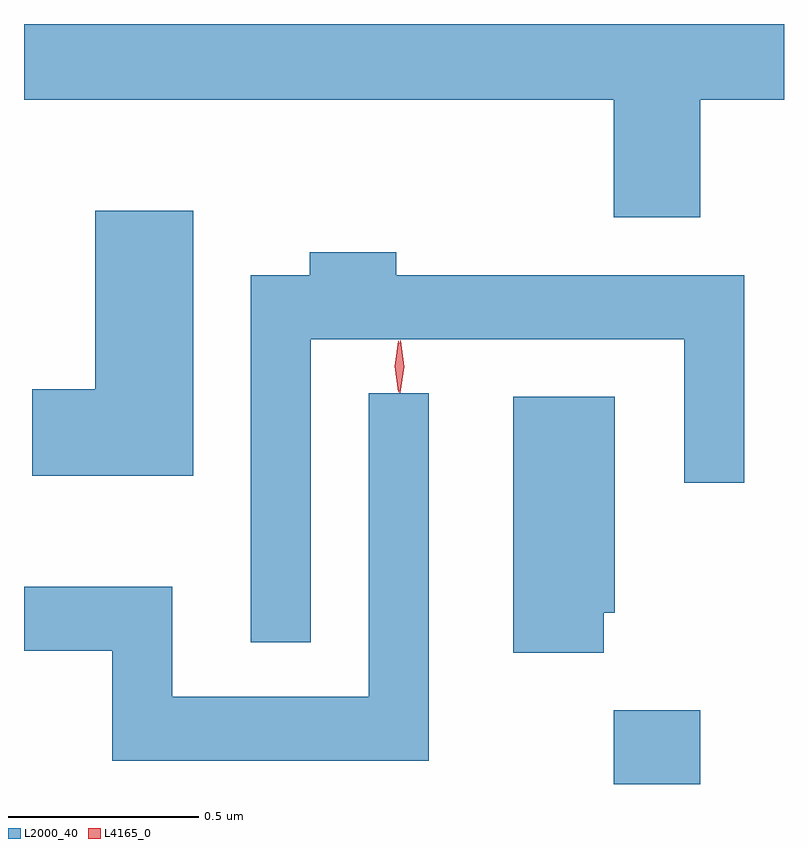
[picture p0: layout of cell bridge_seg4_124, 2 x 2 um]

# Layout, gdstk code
import gdstk
lib = gdstk.Library(unit=1e-6, precision=1e-09)
def R(c, l, rs):  # rectangles x0, y0, x1, y1
    for r in rs: c.add(gdstk.rectangle(r[:2], r[2:], *l))
def P(c, l, *ps):  # polygons
    for p in ps: c.add(gdstk.Polygon(p, *l))
L2000_40 = (2000, 40)
L4165_0 = (4165, 0)

bridge_seg4_124 = lib.new_cell('bridge_seg4_124')
R(bridge_seg4_124, L2000_40, [(870.051,1315.135,870.279,1315.329)])
P(bridge_seg4_124, L2000_40, [(870.279,1316.936),(870.499,1316.936),(870.499,1317.135),(868.499,1317.135),(868.499,1316.936),(870.051,1316.936),(870.051,1316.626),(870.279,1316.626)],
  [(868.944,1316.644),(868.686,1316.644),(868.686,1316.174),(868.521,1316.174),(868.521,1315.946),(868.944,1315.946)],
  [(869.254,1316.306),(870.236,1316.306),(870.236,1315.928),(870.394,1315.928),(870.394,1316.474),(869.479,1316.474),(869.479,1316.534),(869.251,1316.534),(869.251,1316.474),(869.096,1316.474),(869.096,1315.508),(869.254,1315.508)],
  [(869.564,1316.163),(869.406,1316.163),(869.406,1315.364),(868.889,1315.364),(868.889,1315.654),(868.499,1315.654),(868.499,1315.486),(868.731,1315.486),(868.731,1315.196),(869.564,1315.196)],
  [(870.024,1315.586),(870.054,1315.586),(870.054,1316.154),(869.786,1316.154),(869.786,1315.481),(870.024,1315.481)])
P(bridge_seg4_124, L4165_0, [(869.488,1316.164),(869.479,1316.233),(869.489,1316.302),(869.49,1316.303),(869.49,1316.302),(869.499,1316.233),(869.489,1316.164),(869.489,1316.164)],
  [(869.484,1316.167),(869.484,1316.167),(869.474,1316.234),(869.484,1316.3),(869.484,1316.301),(869.485,1316.3),(869.494,1316.234),(869.485,1316.167)])

lib.write_gds('bridge_seg4_124.gds')
